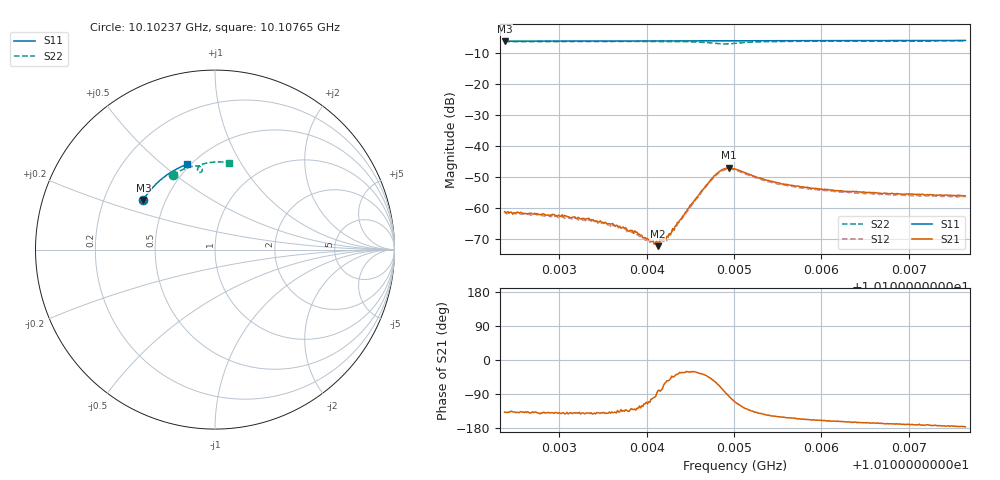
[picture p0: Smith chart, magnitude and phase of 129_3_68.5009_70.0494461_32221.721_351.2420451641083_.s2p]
#  HZ  S  RI  R  50.00
! Rohde & Schwarz Vector Network Analyzer
! Rohde-Schwarz,ZNB20-2Port,1311601062101988,3.16
! Created: UTC 3/20/2024, 5:09:33 PM
! freq[Hz]  re:S11  im:S11  re:S21  im:S21  re:S12  im:S12  re:S22  im:S22
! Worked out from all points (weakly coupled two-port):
!   401 points, 10.10237 GHz to 10.10765 GHz, reference 50 ohm
!   highest |S21| = -46.96 dB at 10.10494 GHz (marker M1); lowest = -72.2 dB at 10.10413 GHz (marker M2)
!   lowest |S11| = -6.3 dB at 10.10237 GHz (marker M3), VSWR 2.89, Z = 18.8 + j13.6 ohm
!   |S11| at or under -10 dB: nowhere
!   |S22| runs from -7.2 to -6.2 dB; largest |S21 - S12| = 0.00045
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1.0102373e10  -0.3991 0.2772  -0.000653 -0.000594  -0.000557 -0.000633  -0.2356 0.4164
1.0102742e10  -0.3869 0.2961  -0.000621 -0.000543  -0.000535 -0.000566  -0.2148 0.4286
1.0103257e10  -0.3683 0.3212  -0.000523 -0.000438  -0.000487 -0.000459  -0.1843 0.4439
1.0103481e10  -0.3596 0.3319  -0.000454 -0.000393  -0.000395 -0.00042  -0.1703 0.45
1.0103744e10  -0.3492 0.344  -0.000336 -0.000334  -0.000294 -0.000368  -0.1532 0.4564
1.0103889e10  -0.3431 0.3503  -0.000251 -0.000329  -0.00022 -0.000307  -0.1433 0.4597
1.0104061e10  -0.3362 0.3577  -6.23e-05 -0.000284  -5.28e-05 -0.000294  -0.131 0.4631
1.0104114e10  -0.3338 0.3603  8.99e-06 -0.000299  5.75e-05 -0.000276  -0.1269 0.464
1.0104127e10  -0.3333 0.3608  3.84e-05 -0.000243  4.3e-05 -0.000269  -0.1261 0.4642
1.010414e10  -0.3328 0.3614  5.23e-05 -0.000281  7.55e-05 -0.00028  -0.1249 0.4643
1.0104219e10  -0.3294 0.3648  0.000169 -0.000277  0.000174 -0.000265  -0.1187 0.4656
1.0104298e10  -0.3257 0.3681  0.000336 -0.000333  0.00036 -0.000283  -0.112 0.4664
1.0104496e10  -0.3171 0.3762  0.000945 -0.000593  0.000943 -0.000431  -0.0938 0.4659
1.010476e10  -0.305 0.3867  0.00188 -0.00254  0.00204 -0.00226  -0.0706 0.4455
1.0104852e10  -0.3008 0.3902  0.00117 -0.00392  0.00147 -0.00365  -0.0759 0.4326
1.0104944e10  -0.2967 0.3937  -0.000511 -0.00446  -0.000104 -0.00426  -0.0901 0.4317
1.010501e10  -0.2937 0.3963  -0.00154 -0.00401  -0.00111 -0.00397  -0.0964 0.4392
1.0105261e10  -0.2819 0.4059  -0.00235 -0.00209  -0.00212 -0.00221  -0.0867 0.4655
1.0105472e10  -0.2715 0.4136  -0.00224 -0.00137  -0.00204 -0.00149  -0.0701 0.4751
1.0105894e10  -0.2504 0.428  -0.00196 -0.00076  -0.00179 -0.000934  -0.039 0.4835
1.0106777e10  -0.2036 0.4541  -0.00168 -0.000356  -0.0016 -0.000486  0.0209 0.4885
1.0107648e10  -0.1554 0.4747  -0.00157 -0.0001  -0.00151 -0.000256  0.0775 0.485
